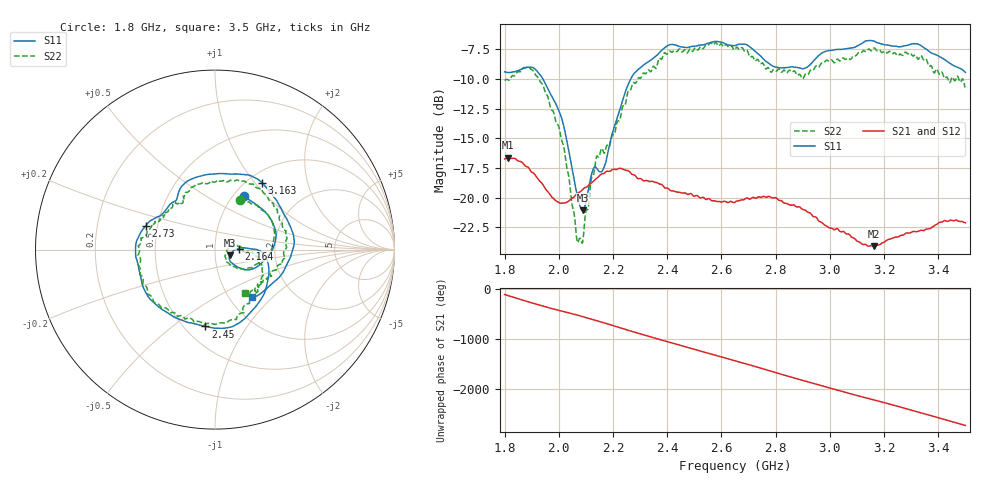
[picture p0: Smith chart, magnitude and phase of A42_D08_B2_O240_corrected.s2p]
! Created with skrf 1.9.0 (http://scikit-rf.org).
# Hz S RI R 50.0
!freq ReS11 ImS11 ReS21 ImS21 ReS12 ImS12 ReS22 ImS22
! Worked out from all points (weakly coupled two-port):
!   1601 points, 1.8 GHz to 3.5 GHz, reference 50 ohm
!   highest |S21| = -16.64 dB at 1.812 GHz (marker M1); lowest = -24.1 dB at 3.161 GHz (marker M2)
!   lowest |S11| = -21.1 dB at 2.089 GHz (marker M3), VSWR 1.19, Z = 58.9 - j3.75 ohm
!   |S11| at or under -10 dB: 1.941 GHz to 2.266 GHz (324.4 MHz wide, 15.4 % of centre)
!   |S22| runs from -23.8 to -6.9 dB; largest |S21 - S12| = 0.0029
!   S11 on the Smith chart (normalised r, x): 1.8 GHz: 1.12, +0.75; 2.164 GHz: 1.30, +0.02; 2.45 GHz: 0.63, -0.66; 2.73 GHz: 0.43, +0.14; 3.163 GHz: 1.16, +1.09; 3.5 GHz: 1.27, -0.76
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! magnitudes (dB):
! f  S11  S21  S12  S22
! 1.8 GHz  -9.4  -16.7  -16.7  -10.1
! 1.812 GHz  -9.5  -16.6  -16.6  -10.1
! 1.886 GHz  -9.0  -17.4  -17.5  -9.0
! 1.942 GHz  -10.0  -18.9  -18.9  -10.6
! 2.011 GHz  -13.4  -20.5  -20.4  -15.2
! 2.066 GHz  -19.5  -19.7  -19.7  -23.4
! 2.084 GHz  -21.0  -19.4  -19.4  -23.7
! 2.089 GHz  -21.1  -19.3  -19.3  -23.6
! 2.134 GHz  -17.4  -18.5  -18.5  -17.3
! 2.164 GHz  -17.6  -18.0  -17.9  -16.1
! 2.262 GHz  -10.2  -17.8  -17.9  -11.0
! 2.367 GHz  -7.9  -18.8  -18.7  -8.4
! 2.45 GHz  -7.3  -19.6  -19.6  -7.6
! 2.65 GHz  -7.2  -20.4  -20.3  -7.5
! 2.73 GHz  -7.8  -20.0  -20.0  -8.4
! 2.81 GHz  -9.0  -20.2  -20.1  -9.2
! 2.934 GHz  -8.7  -21.4  -21.4  -9.2
! 3.161 GHz  -6.8  -24.1  -24.0  -7.4
! 3.163 GHz  -6.8  -24.1  -24.0  -7.4
! 3.217 GHz  -7.2  -23.5  -23.5  -7.7
! 3.326 GHz  -7.1  -22.8  -22.8  -8.3
! 3.5 GHz  -9.5  -22.1  -22.1  -10.7
